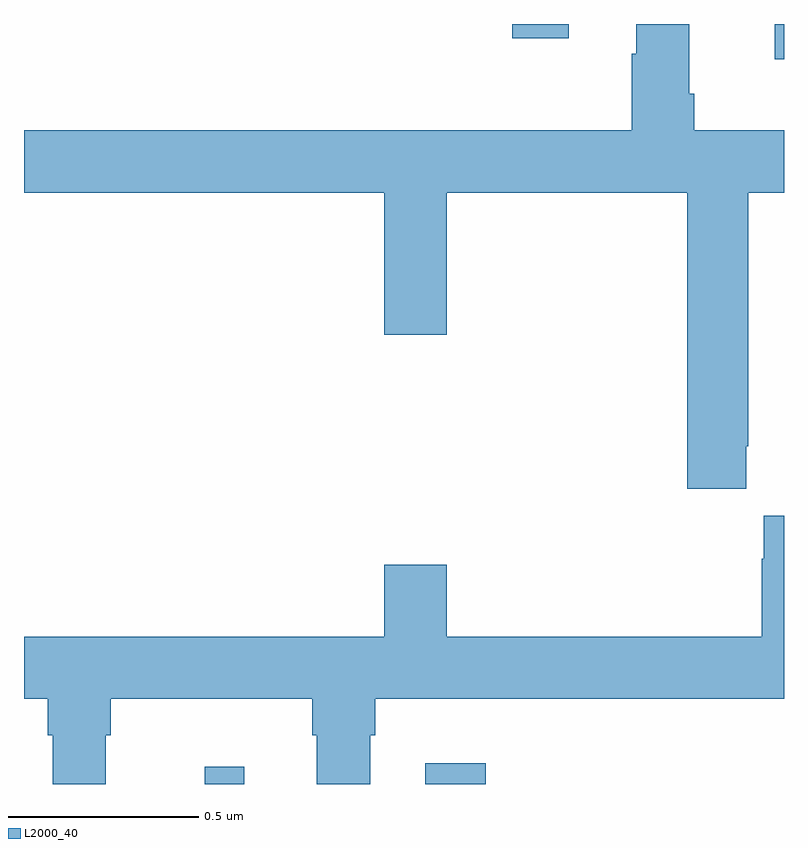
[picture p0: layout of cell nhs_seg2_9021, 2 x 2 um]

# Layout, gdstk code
import gdstk
lib = gdstk.Library(unit=1e-6, precision=1e-09)
def R(c, l, rs):  # rectangles x0, y0, x1, y1
    for r in rs: c.add(gdstk.rectangle(r[:2], r[2:], *l))
def P(c, l, *ps):  # polygons
    for p in ps: c.add(gdstk.Polygon(p, *l))
L2000_40 = (2000, 40)

nhs_seg2_9021 = lib.new_cell('nhs_seg2_9021')
R(nhs_seg2_9021, L2000_40, [(224.476,592.8,224.579,592.846), (225.056,592.8,225.215,592.855), (225.976,594.707,226,594.8), (225.285,594.762,225.433,594.8)])
P(nhs_seg2_9021, L2000_40, [(225.611,594.722),(225.599,594.722),(225.599,594.52),(224,594.52),(224,594.356),(224.948,594.356),(224.948,593.982),(225.112,593.982),(225.112,594.356),(225.746,594.356),(225.746,593.577),(225.901,593.577),(225.901,593.689),(225.906,593.689),(225.906,594.356),(226,594.356),(226,594.52),(225.764,594.52),(225.764,594.616),(225.751,594.616),(225.751,594.8),(225.611,594.8)],
  [(224,593.024),(224.063,593.024),(224.063,592.928),(224.075,592.928),(224.075,592.8),(224.215,592.8),(224.215,592.928),(224.228,592.928),(224.228,593.024),(224.759,593.024),(224.759,592.928),(224.771,592.928),(224.771,592.8),(224.911,592.8),(224.911,592.928),(224.924,592.928),(224.924,593.024),(226,593.024),(226,593.506),(225.947,593.506),(225.947,593.393),(225.941,593.393),(225.941,593.188),(225.112,593.188),(225.112,593.377),(224.948,593.377),(224.948,593.188),(224,593.188)])

lib.write_gds('nhs_seg2_9021.gds')
